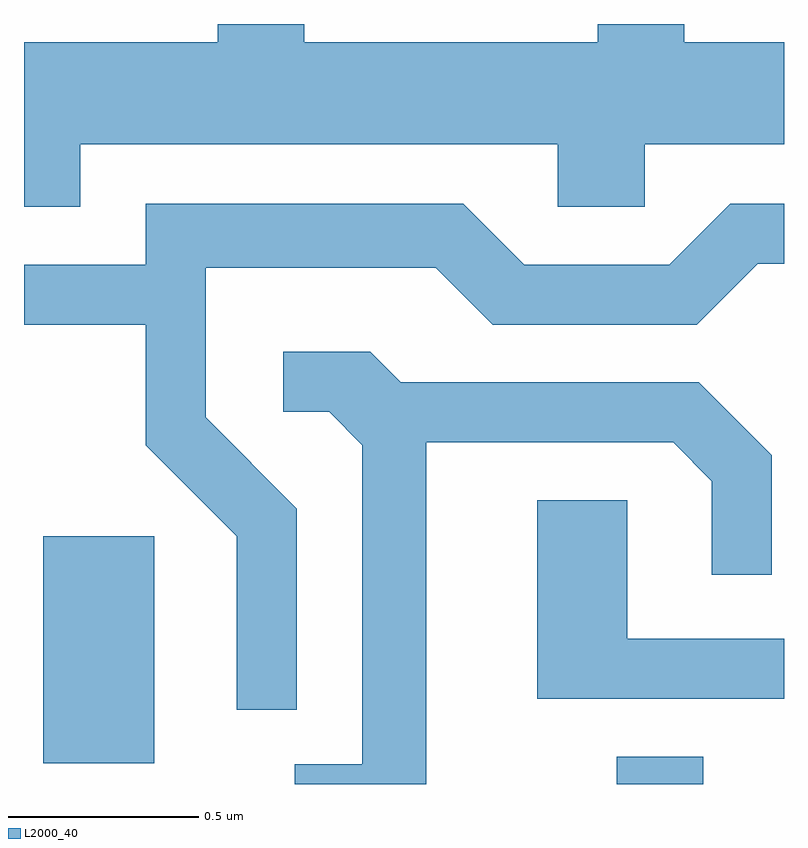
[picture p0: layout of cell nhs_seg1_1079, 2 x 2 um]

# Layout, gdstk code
import gdstk
lib = gdstk.Library(unit=1e-6, precision=1e-09)
def R(c, l, rs):  # rectangles x0, y0, x1, y1
    for r in rs: c.add(gdstk.rectangle(r[:2], r[2:], *l))
def P(c, l, *ps):  # polygons
    for p in ps: c.add(gdstk.Polygon(p, *l))
L2000_40 = (2000, 40)

nhs_seg1_1079 = lib.new_cell('nhs_seg1_1079')
R(nhs_seg1_1079, L2000_40, [(194.171,966.712,194.399,966.784), (192.661,966.766,192.954,967.364)])
P(nhs_seg1_1079, L2000_40, [(192.759,968.396),(194.016,968.396),(194.016,968.231),(194.244,968.231),(194.244,968.396),(194.611,968.396),(194.611,968.664),(194.349,968.664),(194.349,968.712),(194.121,968.712),(194.121,968.664),(193.349,968.664),(193.349,968.712),(193.121,968.712),(193.121,968.664),(192.611,968.664),(192.611,968.231),(192.759,968.231)],
  [(193.329,967.437),(193.089,967.677),(193.089,968.071),(193.694,968.071),(193.844,967.921),(194.382,967.921),(194.542,968.081),(194.611,968.081),(194.611,968.239),(194.469,968.239),(194.309,968.079),(193.927,968.079),(193.767,968.239),(192.931,968.239),(192.931,968.079),(192.611,968.079),(192.611,967.921),(192.931,967.921),(192.931,967.604),(193.171,967.364),(193.171,966.908),(193.329,966.908)],
  [(193.669,967.611),(194.319,967.611),(194.421,967.509),(194.421,967.263),(194.579,967.263),(194.579,967.577),(194.387,967.769),(193.602,967.769),(193.522,967.849),(193.293,967.849),(193.293,967.691),(193.414,967.691),(193.501,967.604),(193.501,966.764),(193.323,966.764),(193.323,966.712),(193.669,966.712)],
  [(194.611,967.094),(194.199,967.094),(194.199,967.459),(193.961,967.459),(193.961,966.936),(194.611,966.936)])

lib.write_gds('nhs_seg1_1079.gds')
